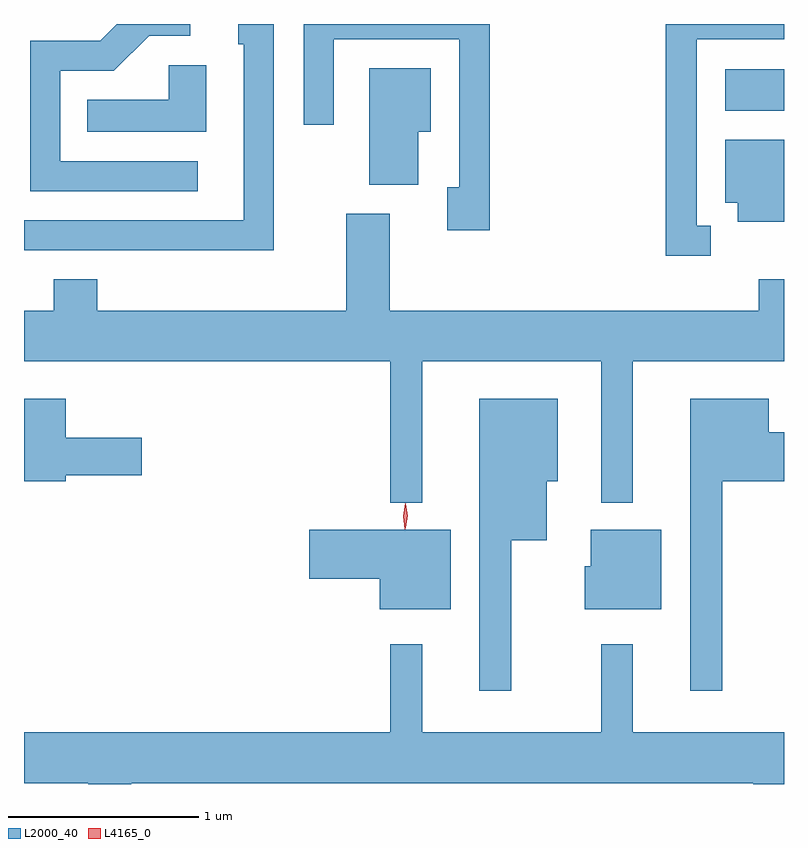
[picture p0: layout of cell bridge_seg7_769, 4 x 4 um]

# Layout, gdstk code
import gdstk
lib = gdstk.Library(unit=1e-6, precision=1e-09)
def R(c, l, rs):  # rectangles x0, y0, x1, y1
    for r in rs: c.add(gdstk.rectangle(r[:2], r[2:], *l))
def P(c, l, *ps):  # polygons
    for p in ps: c.add(gdstk.Polygon(p, *l))
L2000_40 = (2000, 40)
L4165_0 = (4165, 0)

bridge_seg7_769 = lib.new_cell('bridge_seg7_769')
R(bridge_seg7_769, L2000_40, [(214.156,1768.916,214.464,1769.134)])
P(bridge_seg7_769, L2000_40, [(211.779,1769.372),(211.591,1769.372),(211.591,1769.266),(211.621,1769.266),(211.621,1768.339),(210.464,1768.339),(210.464,1768.181),(211.779,1768.181)],
  [(211.378,1768.649),(210.654,1768.649),(210.654,1769.126),(210.937,1769.126),(211.122,1769.311),(211.338,1769.311),(211.338,1769.372),(210.952,1769.372),(210.864,1769.284),(210.496,1769.284),(210.496,1768.491),(211.378,1768.491)],
  [(214.078,1768.309),(214.004,1768.309),(214.004,1769.291),(214.464,1769.291),(214.464,1769.372),(213.841,1769.372),(213.841,1768.151),(214.078,1768.151)],
  [(212.914,1769.372),(211.936,1769.372),(211.936,1768.843),(212.094,1768.843),(212.094,1769.291),(212.756,1769.291),(212.756,1768.514),(212.691,1768.514),(212.691,1768.286),(212.914,1768.286)],
  [(211.424,1769.154),(211.226,1769.154),(211.226,1768.974),(210.798,1768.974),(210.798,1768.806),(211.424,1768.806)],
  [(212.539,1768.806),(212.604,1768.806),(212.604,1769.139),(212.281,1769.139),(212.281,1768.526),(212.539,1768.526)],
  [(214.464,1768.764),(214.156,1768.764),(214.156,1768.431),(214.221,1768.431),(214.221,1768.331),(214.464,1768.331)],
  [(212.559,1767.596),(213.501,1767.596),(213.501,1766.853),(213.669,1766.853),(213.669,1767.596),(214.464,1767.596),(214.464,1768.029),(214.331,1768.029),(214.331,1767.864),(212.389,1767.864),(212.389,1768.374),(212.161,1768.374),(212.161,1767.864),(210.849,1767.864),(210.849,1768.029),(210.621,1768.029),(210.621,1767.864),(210.464,1767.864),(210.464,1767.596),(212.391,1767.596),(212.391,1766.853),(212.559,1766.853)],
  [(213.029,1766.656),(213.214,1766.656),(213.214,1766.966),(213.274,1766.966),(213.274,1767.399),(212.861,1767.399),(212.861,1765.863),(213.029,1765.863)],
  [(214.139,1766.966),(214.464,1766.966),(214.464,1767.224),(214.384,1767.224),(214.384,1767.399),(213.971,1767.399),(213.971,1765.863),(214.139,1765.863)],
  [(210.684,1766.996),(211.084,1766.996),(211.084,1767.194),(210.684,1767.194),(210.684,1767.399),(210.464,1767.399),(210.464,1766.966),(210.684,1766.966)],
  [(212.709,1766.709),(211.966,1766.709),(211.966,1766.451),(212.336,1766.451),(212.336,1766.291),(212.709,1766.291)],
  [(213.819,1766.709),(213.446,1766.709),(213.446,1766.519),(213.416,1766.519),(213.416,1766.291),(213.819,1766.291)],
  [(211.029,1765.376),(214.301,1765.376),(214.301,1765.372),(214.464,1765.372),(214.464,1765.644),(213.669,1765.644),(213.669,1766.108),(213.501,1766.108),(213.501,1765.644),(212.559,1765.644),(212.559,1766.108),(212.391,1766.108),(212.391,1765.644),(210.464,1765.644),(210.464,1765.376),(210.801,1765.376),(210.801,1765.372),(211.029,1765.372)])
P(bridge_seg7_769, L4165_0, [(212.472,1766.72),(212.463,1766.783),(212.472,1766.846),(212.473,1766.847),(212.473,1766.846),(212.483,1766.783),(212.473,1766.72),(212.473,1766.72)],
  [(212.468,1766.714),(212.46,1766.782),(212.47,1766.85),(212.47,1766.85),(212.471,1766.85),(212.48,1766.782),(212.47,1766.714),(212.469,1766.714)])

lib.write_gds('bridge_seg7_769.gds')
